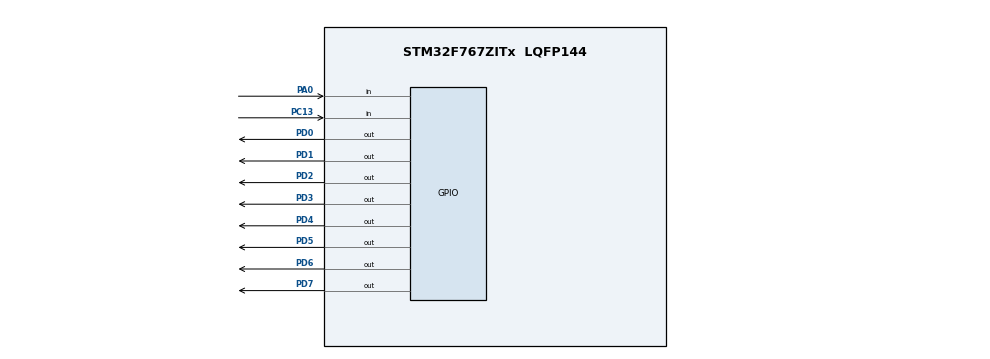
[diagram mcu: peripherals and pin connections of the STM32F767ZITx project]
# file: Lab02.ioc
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Mcu.Family=STM32F7
Mcu.Name=STM32F767ZITx
Mcu.Package=LQFP144
NVIC.PriorityGroup=NVIC_PRIORITYGROUP_4
PA0/WKUP.Signal=GPIO_Input
PC13.Signal=GPIO_Input
PD0.Signal=GPIO_Output
PD1.Signal=GPIO_Output
PD2.Signal=GPIO_Output
PD3.Signal=GPIO_Output
PD4.Signal=GPIO_Output
PD5.Signal=GPIO_Output
PD6.Signal=GPIO_Output
PD7.Signal=GPIO_Output
ProjectManager.HeapSize=0x200
ProjectManager.StackSize=0x400
ProjectManager.TargetToolchain=STM32CubeIDE
RCC.HSE_VALUE=25000000
RCC.HSI_VALUE=16000000
RCC.LSE_VALUE=32768
RCC.USBFreq_Value=96000000
RCC.VCOOutputFreq_Value=192000000
board=custom

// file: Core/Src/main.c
/* USER CODE BEGIN Header */
/**
 ******************************************************************************
 * @file           : main.c
 * @brief          : Main program body
 ******************************************************************************
 * @attention
 *
 * Copyright (c) 2023 STMicroelectronics.
 * All rights reserved.
 *
 * This software is licensed under terms that can be found in the LICENSE file
 * in the root directory of this software component.
 * If no LICENSE file comes with this software, it is provided AS-IS.
 *
 ******************************************************************************
 */
/* USER CODE END Header */
#include "main.h"

/* USER CODE BEGIN PD */
#define PINS (GPIO_PIN_0 | GPIO_PIN_1 | GPIO_PIN_2 | GPIO_PIN_3 | GPIO_PIN_4 | GPIO_PIN_5 | GPIO_PIN_6 | GPIO_PIN_7)

/* USER CODE END PD */

/* USER CODE BEGIN PV */
uint8_t count = 0;
uint8_t shift = 0x01;
uint8_t state = 0x01;

/* USER CODE END PV */

void SystemClock_Config(void);
static void MX_GPIO_Init(void);

int main(void) {

	/* MCU Configuration--------------------------------------------------------*/

	/* Reset of all peripherals, Initializes the Flash interface and the Systick. */
	HAL_Init();

	/* Configure the system clock */
	SystemClock_Config();

	/* Initialize all configured peripherals */
	MX_GPIO_Init();

	/* Infinite loop */
	while (1) {

		/* USER CODE BEGIN 3 */

		if (HAL_GPIO_ReadPin(GPIOC, GPIO_PIN_13) == GPIO_PIN_SET) {
			HAL_Delay(100);
			switch (count) {
			case 1:
				GPIOD->ODR = 0b00000001;
				count = 1;
				break;
			default:
				GPIOD->ODR <<= 1;
				break;
			}

			if (count == 8) {
				count = 1;
			} else {
				count += 1;
			}

			HAL_Delay(300);
			while (HAL_GPIO_ReadPin(GPIOC, GPIO_PIN_13) == GPIO_PIN_SET)
				;
		}

		if (HAL_GPIO_ReadPin(GPIOA, GPIO_PIN_0) == GPIO_PIN_RESET) {
			if (count == 0) {
				GPIOD->ODR = 0b10000000;
				while ((GPIOD->ODR & 0x01) == 0) {
					GPIOD->ODR >>= 1;
					HAL_Delay(50);
				}
				HAL_GPIO_TogglePin(GPIOD, GPIO_PIN_0);
			} else {
				while ((GPIOD->ODR & 0x01) == 0) {
					GPIOD->ODR >>= 1;
					HAL_Delay(50);
				}
				if (count == 1) {
					GPIOD->ODR = 0b10000000;
				} else {
					GPIOD->ODR = 0b10000000;
					while ((GPIOD->ODR & (0x01 << (count - 2))) == 0) {
						GPIOD->ODR >>= 1;
						HAL_Delay(50);
					}
					HAL_Delay(600);

				}

			}

		}

	}

	/* USER CODE END 3 */
}

void SystemClock_Config(void) {
	RCC_OscInitTypeDef RCC_OscInitStruct = { 0 };
	RCC_ClkInitTypeDef RCC_ClkInitStruct = { 0 };

	/** Configure the main internal regulator output voltage
	 */
	__HAL_RCC_PWR_CLK_ENABLE();
	__HAL_PWR_VOLTAGESCALING_CONFIG(PWR_REGULATOR_VOLTAGE_SCALE3);

	/** Initializes the RCC Oscillators according to the specified parameters
	 * in the RCC_OscInitTypeDef structure.
	 */
	RCC_OscInitStruct.OscillatorType = RCC_OSCILLATORTYPE_HSI;
	RCC_OscInitStruct.HSIState = RCC_HSI_ON;
	RCC_OscInitStruct.HSICalibrationValue = RCC_HSICALIBRATION_DEFAULT;
	RCC_OscInitStruct.PLL.PLLState = RCC_PLL_NONE;
	if (HAL_RCC_OscConfig(&RCC_OscInitStruct) != HAL_OK) {
		Error_Handler();
	}

	/** Initializes the CPU, AHB and APB buses clocks
	 */
	RCC_ClkInitStruct.ClockType = RCC_CLOCKTYPE_HCLK | RCC_CLOCKTYPE_SYSCLK
			| RCC_CLOCKTYPE_PCLK1 | RCC_CLOCKTYPE_PCLK2;
	RCC_ClkInitStruct.SYSCLKSource = RCC_SYSCLKSOURCE_HSI;
	RCC_ClkInitStruct.AHBCLKDivider = RCC_SYSCLK_DIV1;
	RCC_ClkInitStruct.APB1CLKDivider = RCC_HCLK_DIV1;
	RCC_ClkInitStruct.APB2CLKDivider = RCC_HCLK_DIV1;

	if (HAL_RCC_ClockConfig(&RCC_ClkInitStruct, FLASH_LATENCY_0) != HAL_OK) {
		Error_Handler();
	}
}

static void MX_GPIO_Init(void) {
	GPIO_InitTypeDef GPIO_InitStruct = { 0 };

	/* GPIO Ports Clock Enable */
	__HAL_RCC_GPIOC_CLK_ENABLE();
	__HAL_RCC_GPIOA_CLK_ENABLE();
	__HAL_RCC_GPIOD_CLK_ENABLE();

	/*Configure GPIO pin Output Level */
	HAL_GPIO_WritePin(GPIOD,
			GPIO_PIN_0 | GPIO_PIN_1 | GPIO_PIN_2 | GPIO_PIN_3 | GPIO_PIN_4
					| GPIO_PIN_5 | GPIO_PIN_6 | GPIO_PIN_7, GPIO_PIN_RESET);

	/*Configure GPIO pin : PC13 */
	GPIO_InitStruct.Pin = GPIO_PIN_13;
	GPIO_InitStruct.Mode = GPIO_MODE_INPUT;
	GPIO_InitStruct.Pull = GPIO_NOPULL;
	HAL_GPIO_Init(GPIOC, &GPIO_InitStruct);

	/*Configure GPIO pin : PA0 */
	GPIO_InitStruct.Pin = GPIO_PIN_0;
	GPIO_InitStruct.Mode = GPIO_MODE_INPUT;
	GPIO_InitStruct.Pull = GPIO_NOPULL;
	HAL_GPIO_Init(GPIOA, &GPIO_InitStruct);

	/*Configure GPIO pins : PD0 PD1 PD2 PD3
	 PD4 PD5 PD6 PD7 */
	GPIO_InitStruct.Pin = GPIO_PIN_0 | GPIO_PIN_1 | GPIO_PIN_2 | GPIO_PIN_3
			| GPIO_PIN_4 | GPIO_PIN_5 | GPIO_PIN_6 | GPIO_PIN_7;
	GPIO_InitStruct.Mode = GPIO_MODE_OUTPUT_PP;
	GPIO_InitStruct.Pull = GPIO_NOPULL;
	GPIO_InitStruct.Speed = GPIO_SPEED_FREQ_LOW;
	HAL_GPIO_Init(GPIOD, &GPIO_InitStruct);

}

void Error_Handler(void) {
	__disable_irq();
	while (1) {
	}
}
